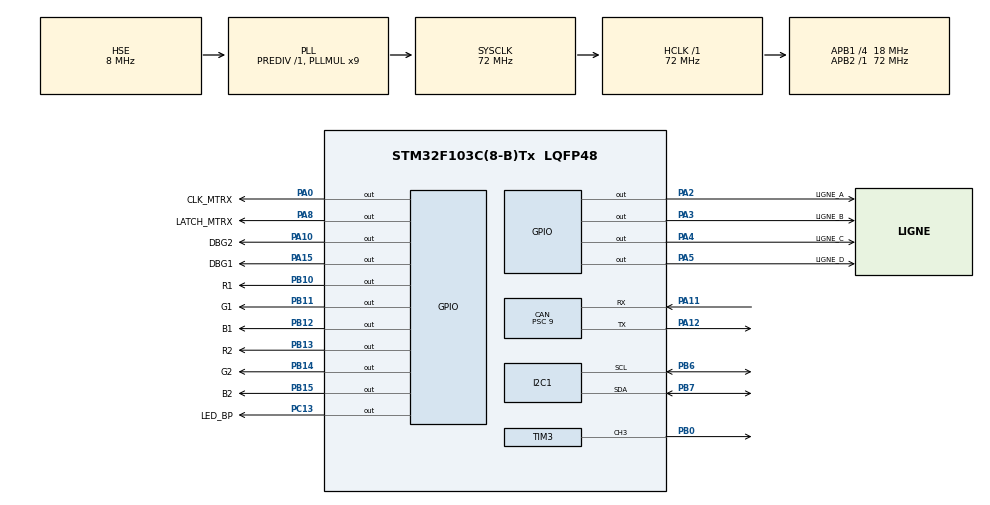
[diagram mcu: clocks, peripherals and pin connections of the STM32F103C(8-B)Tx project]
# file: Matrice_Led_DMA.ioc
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CAN.BS1=CAN_BS1_5TQ
CAN.BS2=CAN_BS2_4TQ
CAN.CalculateBaudRate=200000
CAN.CalculateTimeBit=5000
CAN.CalculateTimeQuantum=500.0
CAN.Prescaler=9
Dma.Request0=TIM2_UP
Dma.TIM2_UP.0.Direction=DMA_MEMORY_TO_PERIPH
Dma.TIM2_UP.0.Instance=DMA1_Channel2
Dma.TIM2_UP.0.MemDataAlignment=DMA_MDATAALIGN_BYTE
Dma.TIM2_UP.0.MemInc=DMA_MINC_ENABLE
Dma.TIM2_UP.0.Mode=DMA_NORMAL
Dma.TIM2_UP.0.PeriphDataAlignment=DMA_PDATAALIGN_BYTE
Dma.TIM2_UP.0.PeriphInc=DMA_PINC_DISABLE
Dma.TIM2_UP.0.Priority=DMA_PRIORITY_HIGH
I2C1.DutyCycle=I2C_DUTYCYCLE_2
I2C1.I2C_Mode=I2C_Fast
Mcu.Family=STM32F1
Mcu.Name=STM32F103C(8-B)Tx
Mcu.Package=LQFP48
NVIC.CAN1_RX1_IRQn=true\:5\:0\:true\:false\:true\:true\:true\:true
NVIC.DMA1_Channel2_IRQn=true\:0\:0\:false\:false\:true\:false\:true\:true
NVIC.I2C1_ER_IRQn=true\:0\:0\:false\:false\:true\:true\:true\:true
NVIC.I2C1_EV_IRQn=true\:0\:0\:false\:false\:true\:true\:true\:true
NVIC.PriorityGroup=NVIC_PRIORITYGROUP_4
NVIC.TIM1_UP_IRQn=true\:2\:0\:true\:false\:true\:true\:true\:true
NVIC.TIM2_IRQn=true\:1\:0\:true\:false\:true\:true\:true\:true
NVIC.USB_HP_CAN1_TX_IRQn=true\:0\:0\:false\:false\:true\:true\:true\:true
NVIC.USB_LP_CAN1_RX0_IRQn=true\:4\:0\:true\:false\:true\:true\:true\:true
PA0-WKUP.GPIO_Label=CLK_MTRX
PA0-WKUP.Signal=GPIO_Output
PA10.GPIO_Label=DBG2
PA10.Signal=GPIO_Output
PA11.Mode=CAN_Activate
PA11.Signal=CAN_RX
PA12.Mode=CAN_Activate
PA12.Signal=CAN_TX
PA13.Mode=Serial_Wire
PA13.Signal=SYS_JTMS-SWDIO
PA14.Mode=Serial_Wire
PA14.Signal=SYS_JTCK-SWCLK
PA15.GPIO_Label=DBG1
PA15.Signal=GPIO_Output
PA2.GPIO_Label=LIGNE_A
PA2.Signal=GPIO_Output
PA3.GPIO_Label=LIGNE_B
PA3.Signal=GPIO_Output
PA4.GPIO_Label=LIGNE_C
PA4.Signal=GPIO_Output
PA5.GPIO_Label=LIGNE_D
PA5.Signal=GPIO_Output
PA8.GPIO_Label=LATCH_MTRX
PA8.Signal=GPIO_Output
PB0.Signal=S_TIM3_CH3
PB10.GPIO_Label=R1
PB10.GPIO_PuPd=GPIO_PULLDOWN
PB10.Signal=GPIO_Output
PB11.GPIO_Label=G1
PB11.GPIO_PuPd=GPIO_PULLDOWN
PB11.Signal=GPIO_Output
PB12.GPIO_Label=B1
PB12.GPIO_PuPd=GPIO_PULLDOWN
PB12.Signal=GPIO_Output
PB13.GPIO_Label=R2
PB13.GPIO_PuPd=GPIO_PULLDOWN
PB13.Signal=GPIO_Output
PB14.GPIO_Label=G2
PB14.GPIO_PuPd=GPIO_PULLDOWN
PB14.Signal=GPIO_Output
PB15.GPIO_Label=B2
PB15.GPIO_PuPd=GPIO_PULLDOWN
PB15.Signal=GPIO_Output
PB6.Mode=I2C
PB6.Signal=I2C1_SCL
PB7.Mode=I2C
PB7.Signal=I2C1_SDA
PC13-TAMPER-RTC.GPIO_Label=LED_BP
PC13-TAMPER-RTC.Signal=GPIO_Output
PC14-OSC32_IN.Mode=LSE-External-Oscillator
PC14-OSC32_IN.Signal=RCC_OSC32_IN
PC15-OSC32_OUT.Mode=LSE-External-Oscillator
PC15-OSC32_OUT.Signal=RCC_OSC32_OUT
PD0-OSC_IN.Mode=HSE-External-Oscillator
PD0-OSC_IN.Signal=RCC_OSC_IN
PD1-OSC_OUT.Mode=HSE-External-Oscillator
PD1-OSC_OUT.Signal=RCC_OSC_OUT
ProjectManager.HeapSize=0x200
ProjectManager.StackSize=0x400
ProjectManager.TargetToolchain=STM32CubeIDE
RCC.ADCPresc=RCC_ADCPCLK2_DIV6
RCC.AHBFreq_Value=72000000
RCC.APB1CLKDivider=RCC_HCLK_DIV4
RCC.APB1Freq_Value=18000000
RCC.APB1TimFreq_Value=36000000
RCC.APB2Freq_Value=72000000
RCC.APB2TimFreq_Value=72000000
RCC.HCLKFreq_Value=72000000
RCC.PLLMUL=RCC_PLL_MUL9
RCC.PLLSourceVirtual=RCC_PLLSOURCE_HSE
RCC.RTCClockSelection=RCC_RTCCLKSOURCE_LSE
RCC.SYSCLKFreq_VALUE=72000000
RCC.SYSCLKSource=RCC_SYSCLKSOURCE_PLLCLK
RCC.USBFreq_Value=72000000
SH.S_TIM3_CH3.0=TIM3_CH3,PWM Generation3 CH3
TIM1.AutoReloadPreload=TIM_AUTORELOAD_PRELOAD_ENABLE
TIM1.CounterMode=TIM_COUNTERMODE_UP
TIM1.Period=1000
TIM1.Prescaler=72
TIM2.Period=144
TIM2.Prescaler=1
TIM3.AutoReloadPreload=TIM_AUTORELOAD_PRELOAD_DISABLE
TIM3.Channel-PWM\ Generation3\ CH3=TIM_CHANNEL_3
TIM3.CounterMode=TIM_COUNTERMODE_UP
TIM3.Period=254
TIM3.Prescaler=36
TIM3.Pulse-PWM\ Generation3\ CH3=128
VP_TIM1_VS_ClockSourceINT.Mode=Internal
VP_TIM2_VS_ClockSourceINT.Mode=Internal
VP_TIM3_VS_ClockSourceINT.Mode=Internal
board=custom

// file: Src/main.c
/* USER CODE BEGIN Header */
/**
  ******************************************************************************
  * @file           : main.c
  * @brief          : Main program body
  ******************************************************************************
  * @attention
  *
  * <h2><center>&copy; Copyright (c) 2020 STMicroelectronics.
  * All rights reserved.</center></h2>
  *
  * This software component is licensed by ST under BSD 3-Clause license,
  * the "License"; You may not use this file except in compliance with the
  * License. You may obtain a copy of the License at:
  *                        opensource.org/licenses/BSD-3-Clause
  *
  ******************************************************************************
  */
/* USER CODE END Header */
#include "main.h"

/* USER CODE BEGIN Includes */
//
// V1_0 par E.BURTZ le 13/04/2022 : recuperation soft initial STM32
// V1_1 par E.BURTZ le 28/04/2022 : implémentation DMA (test)
// V1_2 par E.BURTZ le 29/04/2022 : implementation DMA (gestion matrice)
// V1_3 par E.BURTZ le 01/05/2022 : correction non affichage derniere colonne
//
#include "commun.h"
#include "Matrice_Led.h"
#include "Tache_rec_emi_CAN.h"
#include "Tache_IT_Matrice.h"
#include "Tache_ges_volet.h"
#include "Micro_delay.h"
#include "Tache_ges_volet.h"

/* USER CODE END Includes */

/* USER CODE BEGIN PTD */

typedef struct strCliImg
{
   unsigned short CliEnCours;        //[VRAI, FAUX]
   unsigned short AffCli;            //[VRAI, FAUX]
   unsigned short TempoCli;
} t_CliImg;

#define NB_MAX_DATA 8
typedef struct strFiltre
{
uint8_t AdrFiltre;
uint8_t AdrMask;
uint8_t DataFiltre[NB_MAX_DATA];
uint8_t DataMask[NB_MAX_DATA];
} FiltreI2C_t;

/* USER CODE END PTD */

/* USER CODE BEGIN PD */
#define TEMPO_BOUCLE 20

//#define RESET_B7B4 0b00001111
//#define RESET_B3B0 0b11110000

//#define ATT_EOC 1

#define TEMPO_WDOG 20

//#define HAUTEUR_MARCHE 30
//#define FIN_ESCALIER 300

//###################### constantes liées au bus CAN ##########################//

//#define VAL_EXTD_ID     0x01
#define NB_DATA_MSG_POT 2
#define ID_MSG_POT      128
#define ID_MSG_DAC      192

#define ID_MSG_AFF      48
#define ID_MSG_MUX      49
#define MSQ_MSG_AFF     0xFFE

#define TEMPO_EMI_CAN 25

//#############################################################################//

/* USER CODE END PD */

CAN_HandleTypeDef hcan;

I2C_HandleTypeDef hi2c1;

TIM_HandleTypeDef htim1;
TIM_HandleTypeDef htim2;
TIM_HandleTypeDef htim3;
DMA_HandleTypeDef hdma_tim2_up;

/* USER CODE BEGIN PV */

//-------------- tableau transcodage hexa -> 7 segments ------------------//
// Correspondance bit donnée tableau Tabdec7seg avec segment afficheur :
//                              b7..b0 => 0abcdefg
// en indice du tableau (entrée) on a le quartet héxa a decoder
// en donnée du tableau (sortie) on a les segments a allumer ou eteindre
//

/*uint8_t TabDec7seg[16] = {0x01,0x4F,0x12,0x06,0x4C,0x24,0x20,0x0F,0x00,0x04,0x08,0x60,0x31,0x42,0x30,0x38};

#define TST_BIT6 0b01000000
#define TST_BIT5 0b00100000
#define TST_BIT4 0b00010000
#define TST_BIT3 0b00001000
#define TST_BIT2 0b00000100
#define TST_BIT1 0b00000010
#define TST_BIT0 0b00000001
#define SET_DP 1
#define RESET_DP 0
#define RESET_B7B4 0b00001111 */
//-------------------------------------------------------------------------//

//uint8_t ResConv8b  = 0xA2;   //résultat de conversion sur 8 bits
//uint8_t ResConvBcd = 0;	     //resultat de conversion BCD
//uint8_t ValAAff8b = 0;       //Valeur a afficher sur 2 digits

//ADC_ChannelConfTypeDef sConfigUser = {0};  // changement canal conversion

//-------------------------------------------------------------------------//

TIM_OC_InitTypeDef sConfigOCUser = {0};

//uint8_t DureeBip = 0;
//uint8_t ValLum   = 100;

//-------------------------------------------------------------------------//

t_AppImg AppelImg;

uint8_t ImageBasse[TAILLE_IMAGE];
uint8_t ImageHaute[TAILLE_IMAGE];

uint8_t *ptImageEnc;

uint32_t dmaSrcAddress;
uint32_t dmaDstAddress;
uint32_t dmaDataLength;
#define LG_BUFF_IMAGE 256
uint8_t BufferImage[LG_BUFF_IMAGE];

HAL_StatusTypeDef Etat;

/* USER CODE END PV */

void SystemClock_Config(void);
static void MX_GPIO_Init(void);
static void MX_DMA_Init(void);
static void MX_TIM1_Init(void);
static void MX_TIM3_Init(void);
static void MX_CAN_Init(void);
static void MX_I2C1_Init(void);
static void MX_TIM2_Init(void);

/* USER CODE BEGIN 0 */

//-------------------------------------------------------//
//                                                       //
// Sociéte :                         projet :            //
//                                                       //
// Modifié par (Date, Libellé):                          //
//                                                       //
//-------------------------------------------------------//
//                                                       //
//          spg d'interruption fin de comptage           //
//                                                       //
//-------------------------------------------------------//
//
// Ce sous programme est appelé lorsqu'un des timer arrive en
// fin de comptage (quelque soit le timer)
//
//      PE :  htim : pointeur sur la structure d'initialisation du timer
//            générateur de l'IT
//      PS : N/A
//
// Variable globale :
//   ValAAff8b : Valeur a visualiser 8 bits
//
#define MAX_CPT_RC 100

void HAL_TIM_PeriodElapsedCallback(TIM_HandleTypeDef *htim)
{

/*	if (htim->Instance == TIM2)
	{
		//-- IT Timer 2 (tache matrice) --//
		//HAL_GPIO_TogglePin(DBG1_GPIO_Port,DBG1_Pin);
		SpgIntMatrice();
	} */
	if (htim->Instance == TIM1)
	{
		//-- IT timer 1 (tache time out) --//
		//HAL_GPIO_TogglePin(DBG1_GPIO_Port,DBG1_Pin);
		SpgIntVolet();
	}

}

//
//##################### Etudiant 3 ######################//
//

//-------------------------------------------------------//
//                                                       //
// Sociéte :                         projet :            //
//                                                       //
// Modifié par (Date, Libellé):                          //
//                                                       //
//-------------------------------------------------------//
//                                                       //
//          spg d'interruption fin DMA                   //
//                                                       //
//-------------------------------------------------------//
//
// Ce sous programme est appelé à la fin d'un transfert DMA
// On doit alors effectuer la reinitialisation des lignes et des
// colonne (variable "RazLigneColonne")
//
//      PE : structure DMA
//      PS : N/A
//
// Variable globale : RazLigneColonne [VRAI, FAUX]
//
void DMA1_XferCpltCallback( struct __DMA_HandleTypeDef * hdma)
{

}

//#######################################################//

//-------------------------------------------------------//
//                                                       //
// Sociéte :                         projet :            //
//                                                       //
// Modifié par (Date, Libellé):                          //
//                                                       //
//-------------------------------------------------------//
//                                                       //
//          spg d'interruption erreur DMA                //
//                                                       //
//-------------------------------------------------------//
//
// Ce sous programme est appelé à la fin d'un transfert DMA
//
//      PE : structure DMA
//      PS : N/A
//
// Variable globale : N/A
//
void DMA1_XferErrorCallback( struct __DMA_HandleTypeDef * hdma)
{
static uint8_t CptDMAErr = 0;

	//HAL_GPIO_TogglePin(DBG2_GPIO_Port,DBG2_Pin);
	CptDMAErr++;
}

//-------------------------------------------------------//
//                                                       //
// Sociéte :                         projet :            //
//                                                       //
// Modifié par (Date, Libellé):                          //
//                                                       //
//-------------------------------------------------------//
//                                                       //
//              spg d'initialisation DMA                 //
//                                                       //
//-------------------------------------------------------//
//
// Spg d'init DMA
//
//      PE : htim : structure description timer
//           SrcAdresse : adresse source
//           DstAdresse : adresse destination
//           DataLenght : longeur buffer DMA
//
//      PS : N/A
//
// Variable globale : N/A
//
HAL_StatusTypeDef my_HAL_TIM_Base_Start_DMA(TIM_HandleTypeDef *htim , uint32_t SrcAddress, uint32_t DstAddress, uint32_t DataLength)
{
  /* Check the parameters */
  assert_param(IS_TIM_DMA_INSTANCE(htim->Instance));

  if((htim->State == HAL_TIM_STATE_BUSY))
  {
     return HAL_BUSY;
  }
  else if((htim->State == HAL_TIM_STATE_READY))
  {
    if((SrcAddress == 0U) && (DataLength > 0U))
    {
      return HAL_ERROR;
    }
    else
    {
      htim->State = HAL_TIM_STATE_BUSY;
    }
  }
  /* Set the DMA Period elapsed callback */
  //RAF htim->hdma[TIM_DMA_ID_UPDATE]->XferCpltCallback = TIM_DMAPeriodElapsedCplt;

  /* Set the DMA error callback */
  //RAF htim->hdma[TIM_DMA_ID_UPDATE]->XferErrorCallback = TIM_DMAError ;

  /* Enable the DMA channel */
  //PL HAL_DMA_Start_IT(htim->hdma[TIM_DMA_ID_UPDATE], (uint32_t)pData, (uint32_t)&htim->Instance->ARR, Length);
  HAL_DMA_Start_IT(htim->hdma[TIM_DMA_ID_UPDATE], (uint32_t)SrcAddress, (uint32_t)DstAddress, DataLength);

  /* Enable the TIM Update DMA request */
  __HAL_TIM_ENABLE_DMA(htim, TIM_DMA_UPDATE);

  /* Enable the Peripheral */
  __HAL_TIM_ENABLE(htim);

  /* Return function status */
  return HAL_OK;
}
/* USER CODE END 0 */

int main(void)
{
  /* USER CODE BEGIN 1 */

  uint8_t CptWDog = 0;

  uint8_t TempoImg = 0;
  uint8_t ModeEnCoursPrec = RETROPI;
  uint8_t ModeEnCoursLoc = RETROPI;

  uint16_t i;

  #define BASSE 0
  #define HAUTE 1
  uint8_t PageEnc = BASSE;

  uint8_t CptEtat = 0;

  /* USER CODE END 1 */

  /* MCU Configuration--------------------------------------------------------*/

  /* Reset of all peripherals, Initializes the Flash interface and the Systick. */
  HAL_Init();

  /* Configure the system clock */
  SystemClock_Config();

  /* Initialize all configured peripherals */
  MX_GPIO_Init();
  MX_DMA_Init();
  MX_TIM1_Init();
  MX_TIM3_Init();
  MX_CAN_Init();
  MX_I2C1_Init();
  MX_TIM2_Init();
  /* USER CODE BEGIN 2 */
  //
  //--------------- debug : init buffer image ------------//
  //
  for (i=0 ; i != LG_BUFF_IMAGE ; i++)
  {
	 BufferImage[i] = (i << 2);

  }
  //
  //----- mise en HI de la memoire (non utilisée) -------//
  //
  //HAL_GPIO_WritePin(OE_MEM_GPIO_Port, OE_MEM_Pin, GPIO_PIN_SET);

  //
  //---------- initialisation micro delay ---------------//
  //
  HAL_InitDelayUs();

  //
  //------------------ demarrage PWM --------------------//
  //
  Etat = HAL_TIM_PWM_Start (&htim3, TIM_CHANNEL_3);

  //
  //------------------- init bus CAN --------------------//
  //
  InitBusCAN(&TxHeader, TxData, &sFilterConfig);

  //
  //------------------ init matrice ---------------------//
  //
  //InitPeriphITMatrix();   //inutile car géré par CubeMx

  //
  //---------------- debug init eeprom ------------------//
  //
  //EcrConfigEEPDebug();    //-- a supprimer apres debug
  HAL_Delay(50);
  LecConfigEEP();

  //
  //------------------ init images ---------------------//
  //
  for (i=0; i != TAILLE_IMAGE ; i++)
  {
	  ImageBasse[i] = 0;
	  ImageHaute[i] = 0;
  }
  ptImageEnc = ImageBasse;

  //
  //------------------ initialisation DMA --------------//
  //
  HAL_DMA_RegisterCallback(&hdma_tim2_up, HAL_DMA_XFER_CPLT_CB_ID, DMA1_XferCpltCallback);
  HAL_DMA_RegisterCallback(&hdma_tim2_up, HAL_DMA_XFER_ERROR_CB_ID, DMA1_XferErrorCallback);

  dmaSrcAddress = (uint32_t)ImageBasse;
  dmaDstAddress = (uint32_t)(&(GPIOB->ODR))+1;
  dmaDataLength = TAILLE_IMAGE;

  //
  //#################### Etudiant 3 #####################//
  //
  // Initialisation DMA sur timer2 : transfert ImageBAsse --> poids fort GPIOB sur une image
  //
  // Fonction utilisée :  my_HAL_TIM_Base_Start_DMA()
  //
 HAL_TIM_Base_Start_DMA (TIM_HandleTypeDef * htim, uint32_t * pData, uint16_t
  Length);

  //####################################################//
  //
  //----------------------------------------------------//
  //
  /* USER CODE END 2 */

  /* Infinite loop */
  while (1)
  {

    /* USER CODE BEGIN 3 */

	//
	//---------------------------- changement image ----------------------//
	//
	if (AppelImg.MajImg == VRAI)
	{
	     //AppImageFond(AppelImg.PageHaut, AppelImg.NumImage);
		 if (AppelImg.PageHaut == VRAI)
			AppImageFond(AppelImg.NumImage, ImageHaute);
		 else
			AppImageFond(AppelImg.NumImage, ImageBasse);

	     AppelImg.MajImg = FAUX;
	}

	//
	//-------------------- gestion clignottement --------------------------//
	//
	GesCliBandeau (&AppelImg);

	//
	//------------------ gestion bandeau d'init ----------------------------//
	//
	ModeEnCoursLoc = ModeEnCours;
	if (ModeEnCoursLoc == RETROPI)
	{
	     ModeEnCoursPrec = ModeEnCoursLoc;
	     GesBandeauInit(&TempoImg, &AppelImg, ImageHaute, ImageBasse);
	}
	//else if ((ModeEnCoursLoc != ModeEnCoursPrec) && (!pie1.TMR1IE))
	//else if ((ModeEnCoursLoc != ModeEnCoursPrec) && (DebutVolet == VRAI))
	else if ((ModeEnCoursLoc != ModeEnCoursPrec) && (MemITTimer == 0))
	{
	     //-- on affiche le nom du jeu uniquement
	     //-- si un volet est complétement fermé ou ouvert
	     ModeEnCoursPrec = ModeEnCoursLoc;
	     GesBandeauJeu(&TempoImg, ModeEnCoursLoc, &AppelImg,  ImageHaute, ImageBasse);
	}

	//
	//--------------- gestion affichage double vue ------------------------//
	//
	if (AppelImg.Tempo2Img != 0)
	{
	     TempoImg++;
	     if (TempoImg == AppelImg.Tempo2Img)
	     {
	         TempoImg = 0;
	         //portb.BIT_PAGE_MEM = !portb.BIT_PAGE_MEM;
	         //HAL_GPIO_TogglePin (PAGE_MEM_GPIO_Port, PAGE_MEM_Pin);
	         if (PageEnc == BASSE)
	         {
	        	 PageEnc = HAUTE;
	        	 //ptImageEnc = ImageHaute;
	        	 //---- nouvelle affectation adresse source DMA -----//
	        	 htim2.hdma[TIM_DMA_ID_UPDATE]->Instance->CMAR = (uint32_t)ImageHaute;

	         }
	         else
	         {
	         	 PageEnc = BASSE;
	         	 //ptImageEnc = ImageBasse;
	         	 //---- nouvelle affectation adresse source DMA -----//
	         	 htim2.hdma[TIM_DMA_ID_UPDATE]->Instance->CMAR = (uint32_t)ImageBasse;
	         }
	     }
	}
	else
	     TempoImg = 0;

	//
	//-----------------------------------------------------------------------//
	//
	CptWDog++;
    if (CptWDog == TEMPO_WDOG)
    {
    	HAL_GPIO_TogglePin (LED_BP_GPIO_Port, LED_BP_Pin);
    	CptWDog = 0;
    }

    //----------------- tempo boucle prog principal --------------//
  	HAL_Delay(10);
  }
  /* USER CODE END 3 */
}

void SystemClock_Config(void)
{
  RCC_OscInitTypeDef RCC_OscInitStruct = {0};
  RCC_ClkInitTypeDef RCC_ClkInitStruct = {0};

  /** Initializes the RCC Oscillators according to the specified parameters
  * in the RCC_OscInitTypeDef structure.
  */
  RCC_OscInitStruct.OscillatorType = RCC_OSCILLATORTYPE_HSE;
  RCC_OscInitStruct.HSEState = RCC_HSE_ON;
  RCC_OscInitStruct.HSEPredivValue = RCC_HSE_PREDIV_DIV1;
  RCC_OscInitStruct.HSIState = RCC_HSI_ON;
  RCC_OscInitStruct.PLL.PLLState = RCC_PLL_ON;
  RCC_OscInitStruct.PLL.PLLSource = RCC_PLLSOURCE_HSE;
  RCC_OscInitStruct.PLL.PLLMUL = RCC_PLL_MUL9;
  if (HAL_RCC_OscConfig(&RCC_OscInitStruct) != HAL_OK)
  {
    Error_Handler();
  }

  /** Initializes the CPU, AHB and APB buses clocks
  */
  RCC_ClkInitStruct.ClockType = RCC_CLOCKTYPE_HCLK|RCC_CLOCKTYPE_SYSCLK
                              |RCC_CLOCKTYPE_PCLK1|RCC_CLOCKTYPE_PCLK2;
  RCC_ClkInitStruct.SYSCLKSource = RCC_SYSCLKSOURCE_PLLCLK;
  RCC_ClkInitStruct.AHBCLKDivider = RCC_SYSCLK_DIV1;
  RCC_ClkInitStruct.APB1CLKDivider = RCC_HCLK_DIV4;
  RCC_ClkInitStruct.APB2CLKDivider = RCC_HCLK_DIV1;

  if (HAL_RCC_ClockConfig(&RCC_ClkInitStruct, FLASH_LATENCY_2) != HAL_OK)
  {
    Error_Handler();
  }
}

static void MX_CAN_Init(void)
{

  hcan.Instance = CAN1;
  hcan.Init.Prescaler = 9;
  hcan.Init.Mode = CAN_MODE_NORMAL;
  hcan.Init.SyncJumpWidth = CAN_SJW_1TQ;
  hcan.Init.TimeSeg1 = CAN_BS1_5TQ;
  hcan.Init.TimeSeg2 = CAN_BS2_4TQ;
  hcan.Init.TimeTriggeredMode = DISABLE;
  hcan.Init.AutoBusOff = DISABLE;
  hcan.Init.AutoWakeUp = DISABLE;
  hcan.Init.AutoRetransmission = DISABLE;
  hcan.Init.ReceiveFifoLocked = DISABLE;
  hcan.Init.TransmitFifoPriority = DISABLE;
  if (HAL_CAN_Init(&hcan) != HAL_OK)
  {
    Error_Handler();
  }

}

static void MX_I2C1_Init(void)
{

  hi2c1.Instance = I2C1;
  hi2c1.Init.ClockSpeed = 400000;
  hi2c1.Init.DutyCycle = I2C_DUTYCYCLE_2;
  hi2c1.Init.OwnAddress1 = 0;
  hi2c1.Init.AddressingMode = I2C_ADDRESSINGMODE_7BIT;
  hi2c1.Init.DualAddressMode = I2C_DUALADDRESS_DISABLE;
  hi2c1.Init.OwnAddress2 = 0;
  hi2c1.Init.GeneralCallMode = I2C_GENERALCALL_DISABLE;
  hi2c1.Init.NoStretchMode = I2C_NOSTRETCH_DISABLE;
  if (HAL_I2C_Init(&hi2c1) != HAL_OK)
  {
    Error_Handler();
  }

}

static void MX_TIM1_Init(void)
{

  TIM_ClockConfigTypeDef sClockSourceConfig = {0};
  TIM_MasterConfigTypeDef sMasterConfig = {0};

  htim1.Instance = TIM1;
  htim1.Init.Prescaler = 72;
  htim1.Init.CounterMode = TIM_COUNTERMODE_UP;
  htim1.Init.Period = 1000;
  htim1.Init.ClockDivision = TIM_CLOCKDIVISION_DIV1;
  htim1.Init.RepetitionCounter = 0;
  htim1.Init.AutoReloadPreload = TIM_AUTORELOAD_PRELOAD_ENABLE;
  if (HAL_TIM_Base_Init(&htim1) != HAL_OK)
  {
    Error_Handler();
  }
  sClockSourceConfig.ClockSource = TIM_CLOCKSOURCE_INTERNAL;
  if (HAL_TIM_ConfigClockSource(&htim1, &sClockSourceConfig) != HAL_OK)
  {
    Error_Handler();
  }
  sMasterConfig.MasterOutputTrigger = TIM_TRGO_RESET;
  sMasterConfig.MasterSlaveMode = TIM_MASTERSLAVEMODE_DISABLE;
  if (HAL_TIMEx_MasterConfigSynchronization(&htim1, &sMasterConfig) != HAL_OK)
  {
    Error_Handler();
  }
  /* USER CODE BEGIN TIM1_Init 2 */
  //-- arret IT timer 1 au demarrage --//
  //HAL_TIM_Base_Start_IT(&htim1);     //##################################//
  /* USER CODE END TIM1_Init 2 */

}

static void MX_TIM2_Init(void)
{

  TIM_ClockConfigTypeDef sClockSourceConfig = {0};
  TIM_MasterConfigTypeDef sMasterConfig = {0};

  htim2.Instance = TIM2;
  htim2.Init.Prescaler = 1;
  htim2.Init.CounterMode = TIM_COUNTERMODE_UP;
  htim2.Init.Period = 144;
  htim2.Init.ClockDivision = TIM_CLOCKDIVISION_DIV1;
  htim2.Init.AutoReloadPreload = TIM_AUTORELOAD_PRELOAD_DISABLE;
  if (HAL_TIM_Base_Init(&htim2) != HAL_OK)
  {
    Error_Handler();
  }
  sClockSourceConfig.ClockSource = TIM_CLOCKSOURCE_INTERNAL;
  if (HAL_TIM_ConfigClockSource(&htim2, &sClockSourceConfig) != HAL_OK)
  {
    Error_Handler();
  }
  sMasterConfig.MasterOutputTrigger = TIM_TRGO_RESET;
  sMasterConfig.MasterSlaveMode = TIM_MASTERSLAVEMODE_DISABLE;
  if (HAL_TIMEx_MasterConfigSynchronization(&htim2, &sMasterConfig) != HAL_OK)
  {
    Error_Handler();
  }

}

static void MX_TIM3_Init(void)
{

  TIM_ClockConfigTypeDef sClockSourceConfig = {0};
  TIM_MasterConfigTypeDef sMasterConfig = {0};
  TIM_OC_InitTypeDef sConfigOC = {0};

  htim3.Instance = TIM3;
  htim3.Init.Prescaler = 36;
  htim3.Init.CounterMode = TIM_COUNTERMODE_UP;
  htim3.Init.Period = 254;
  htim3.Init.ClockDivision = TIM_CLOCKDIVISION_DIV1;
  htim3.Init.AutoReloadPreload = TIM_AUTORELOAD_PRELOAD_DISABLE;
  if (HAL_TIM_Base_Init(&htim3) != HAL_OK)
  {
    Error_Handler();
  }
  sClockSourceConfig.ClockSource = TIM_CLOCKSOURCE_INTERNAL;
  if (HAL_TIM_ConfigClockSource(&htim3, &sClockSourceConfig) != HAL_OK)
  {
    Error_Handler();
  }
  if (HAL_TIM_PWM_Init(&htim3) != HAL_OK)
  {
    Error_Handler();
  }
  sMasterConfig.MasterOutputTrigger = TIM_TRGO_RESET;
  sMasterConfig.MasterSlaveMode = TIM_MASTERSLAVEMODE_DISABLE;
  if (HAL_TIMEx_MasterConfigSynchronization(&htim3, &sMasterConfig) != HAL_OK)
  {
    Error_Handler();
  }
  sConfigOC.OCMode = TIM_OCMODE_PWM1;
  sConfigOC.Pulse = 128;
  sConfigOC.OCPolarity = TIM_OCPOLARITY_HIGH;
  sConfigOC.OCFastMode = TIM_OCFAST_DISABLE;
  if (HAL_TIM_PWM_ConfigChannel(&htim3, &sConfigOC, TIM_CHANNEL_3) != HAL_OK)
  {
    Error_Handler();
  }
  /* USER CODE BEGIN TIM3_Init 2 */
  //##############################################################//
  sConfigOCUser.OCMode     = sConfigOC.OCMode;
  sConfigOCUser.OCPolarity = sConfigOC.OCPolarity;
  sConfigOCUser.OCFastMode = sConfigOC.OCFastMode;
  //##############################################################//
  /* USER CODE END TIM3_Init 2 */
  HAL_TIM_MspPostInit(&htim3);

}

static void MX_DMA_Init(void)
{

  /* DMA controller clock enable */
  __HAL_RCC_DMA1_CLK_ENABLE();

  /* DMA interrupt init */
  /* DMA1_Channel2_IRQn interrupt configuration */
  HAL_NVIC_SetPriority(DMA1_Channel2_IRQn, 0, 0);
  HAL_NVIC_EnableIRQ(DMA1_Channel2_IRQn);

}

static void MX_GPIO_Init(void)
{
  GPIO_InitTypeDef GPIO_InitStruct = {0};

  /* GPIO Ports Clock Enable */
  __HAL_RCC_GPIOC_CLK_ENABLE();
  __HAL_RCC_GPIOD_CLK_ENABLE();
  __HAL_RCC_GPIOA_CLK_ENABLE();
  __HAL_RCC_GPIOB_CLK_ENABLE();

  /*Configure GPIO pin Output Level */
  HAL_GPIO_WritePin(LED_BP_GPIO_Port, LED_BP_Pin, GPIO_PIN_RESET);

  /*Configure GPIO pin Output Level */
  HAL_GPIO_WritePin(GPIOA, CLK_MTRX_Pin|LIGNE_A_Pin|LIGNE_B_Pin|LIGNE_C_Pin
                          |LIGNE_D_Pin|LATCH_MTRX_Pin|DBG2_Pin|DBG1_Pin, GPIO_PIN_RESET);

  /*Configure GPIO pin Output Level */
  HAL_GPIO_WritePin(GPIOB, R1_Pin|G1_Pin|B1_Pin|R2_Pin
                          |G2_Pin|B2_Pin, GPIO_PIN_RESET);

  /*Configure GPIO pin : LED_BP_Pin */
  GPIO_InitStruct.Pin = LED_BP_Pin;
  GPIO_InitStruct.Mode = GPIO_MODE_OUTPUT_PP;
  GPIO_InitStruct.Pull = GPIO_NOPULL;
  GPIO_InitStruct.Speed = GPIO_SPEED_FREQ_LOW;
  HAL_GPIO_Init(LED_BP_GPIO_Port, &GPIO_InitStruct);

  /*Configure GPIO pins : CLK_MTRX_Pin LIGNE_A_Pin LIGNE_B_Pin LIGNE_C_Pin
                           LIGNE_D_Pin LATCH_MTRX_Pin DBG2_Pin DBG1_Pin */
  GPIO_InitStruct.Pin = CLK_MTRX_Pin|LIGNE_A_Pin|LIGNE_B_Pin|LIGNE_C_Pin
                          |LIGNE_D_Pin|LATCH_MTRX_Pin|DBG2_Pin|DBG1_Pin;
  GPIO_InitStruct.Mode = GPIO_MODE_OUTPUT_PP;
  GPIO_InitStruct.Pull = GPIO_NOPULL;
  GPIO_InitStruct.Speed = GPIO_SPEED_FREQ_LOW;
  HAL_GPIO_Init(GPIOA, &GPIO_InitStruct);

  /*Configure GPIO pins : R1_Pin G1_Pin B1_Pin R2_Pin
                           G2_Pin B2_Pin */
  GPIO_InitStruct.Pin = R1_Pin|G1_Pin|B1_Pin|R2_Pin
                          |G2_Pin|B2_Pin;
  GPIO_InitStruct.Mode = GPIO_MODE_OUTPUT_PP;
  GPIO_InitStruct.Pull = GPIO_PULLDOWN;
  GPIO_InitStruct.Speed = GPIO_SPEED_FREQ_LOW;
  HAL_GPIO_Init(GPIOB, &GPIO_InitStruct);

}

void Error_Handler(void)
{
}
